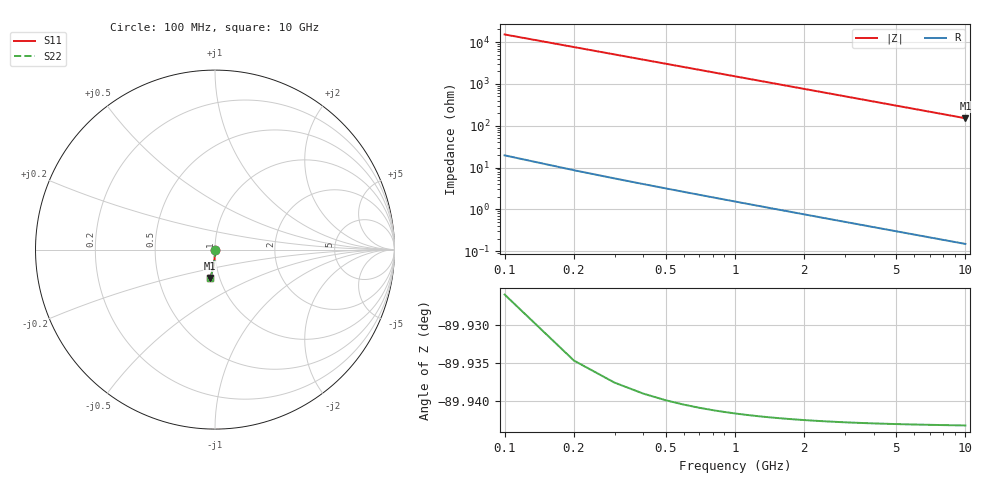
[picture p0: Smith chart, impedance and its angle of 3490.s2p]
# Hz S RI R 50.00
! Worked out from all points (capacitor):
!   100 points, 100 MHz to 10 GHz, reference 50 ohm
!   read as one part in shunt: C = 105 fF near 100 MHz
!   lowest |Z| = 151 ohm at 10 GHz (marker M1)
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1e8  8.73e-06 -0.00162  1 -0.00168  1 -0.00168  8.73e-06 -0.00162
2e8  -9.66e-07 -0.00324  1 -0.00336  1 -0.00336  -9.66e-07 -0.00324
3e8  -1.61e-05 -0.00485  1 -0.00504  1 -0.00504  -1.61e-05 -0.00485
4e8  -3.67e-05 -0.00647  0.9999 -0.00672  0.9999 -0.00672  -3.67e-05 -0.00647
5e8  -6.28e-05 -0.00809  0.9999 -0.0084  0.9999 -0.0084  -6.28e-05 -0.00809
6e8  -9.42e-05 -0.00971  0.9999 -0.0101  0.9999 -0.0101  -9.42e-05 -0.00971
7e8  -0.000131 -0.0113  0.9998 -0.0118  0.9998 -0.0118  -0.000131 -0.0113
8e8  -0.000174 -0.0129  0.9998 -0.0134  0.9998 -0.0134  -0.000174 -0.0129
9e8  -0.000221 -0.0146  0.9998 -0.0151  0.9998 -0.0151  -0.000221 -0.0146
1.1e9  -0.000333 -0.0178  0.9996 -0.0185  0.9996 -0.0185  -0.000333 -0.0178
1.4e9  -0.000542 -0.0226  0.9994 -0.0235  0.9994 -0.0235  -0.000542 -0.0226
1.8e9  -0.000896 -0.0291  0.9991 -0.0302  0.9991 -0.0302  -0.000896 -0.0291
2.1e9  -0.00122 -0.0339  0.9988 -0.0353  0.9988 -0.0353  -0.00122 -0.0339
2.5e9  -0.00173 -0.0404  0.9982 -0.042  0.9982 -0.042  -0.00173 -0.0404
2.9e9  -0.00232 -0.0468  0.9977 -0.0487  0.9977 -0.0487  -0.00232 -0.0468
3.4e9  -0.00318 -0.0549  0.9968 -0.057  0.9968 -0.057  -0.00318 -0.0549
4.2e9  -0.00484 -0.0677  0.9951 -0.0703  0.9951 -0.0703  -0.00484 -0.0677
5.1e9  -0.00712 -0.0821  0.9928 -0.0853  0.9928 -0.0853  -0.00712 -0.0821
5.9e9  -0.0095 -0.0947  0.9905 -0.0984  0.9905 -0.0984  -0.0095 -0.0947
6.7e9  -0.0122 -0.1073  0.9877 -0.1115  0.9877 -0.1115  -0.0122 -0.1073
8.4e9  -0.0191 -0.1337  0.9809 -0.139  0.9809 -0.139  -0.0191 -0.1337
1e10  -0.0268 -0.158  0.9731 -0.1644  0.9731 -0.1644  -0.0268 -0.158
